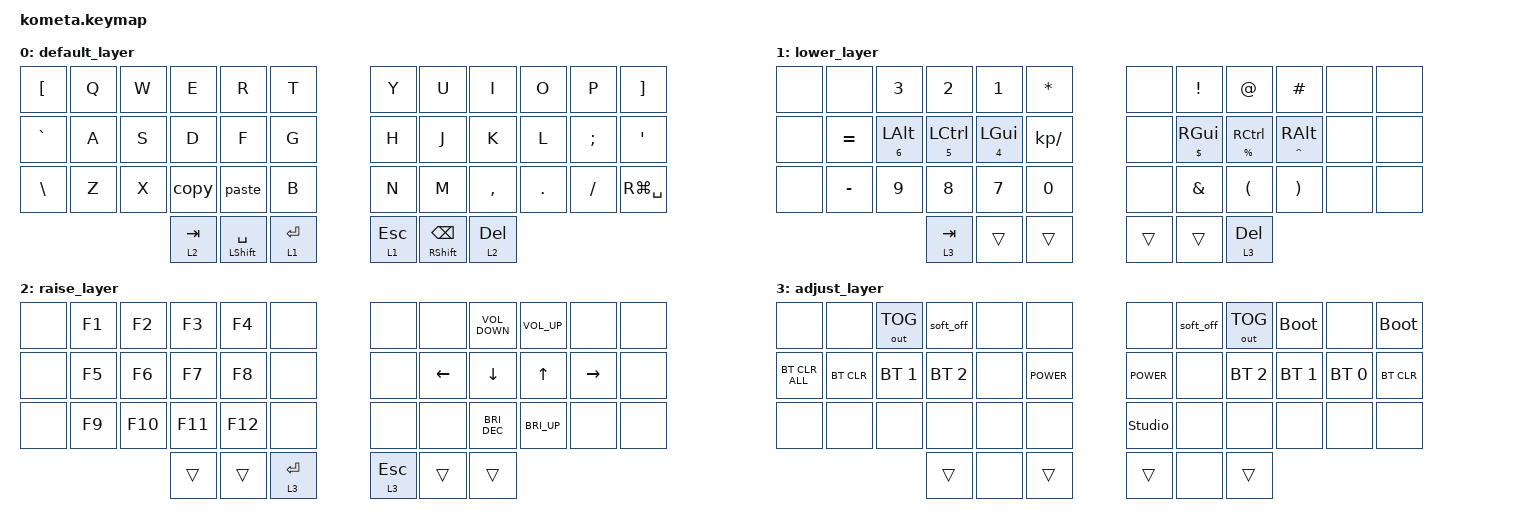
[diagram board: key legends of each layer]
#include <behaviors.dtsi>
#include <dt-bindings/zmk/bt.h>
#include <dt-bindings/zmk/keys.h>
#include <dt-bindings/zmk/outputs.h>

#define DEF 0
#define LWR 1
#define RSE 2
#define ADJ 3

/ {
};

/ {
    behaviors {
        hr: hr {
            compatible = "zmk,behavior-hold-tap";
            label = "home_row";
            bindings = <&kp>, <&kp>;

            #binding-cells = <2>;
            tapping-term-ms = <150>;
            quick-tap-ms = <250>;
            flavor = "tap-preferred";
        };

        copy: copy {
            compatible = "zmk,behavior-tap-dance";
            label = "COPY";
            #binding-cells = <0>;
            bindings = <&kp C>, <&kp K_COPY>;
        };

        paste: paste {
            compatible = "zmk,behavior-tap-dance";
            label = "PASTE";
            #binding-cells = <0>;
            bindings = <&kp V>, <&kp INSERT>;
        };
    };

    keymap {
        compatible = "zmk,keymap";

        default_layer {
            bindings = <
&kp LEFT_BRACKET  &kp Q  &kp W  &kp E      &kp R            &kp T      &kp Y      &kp U           &kp I      &kp O    &kp P     &kp RIGHT_BRACKET
&kp GRAVE         &kp A  &kp S  &kp D      &kp F            &kp G      &kp H      &kp J           &kp K      &kp L    &kp SEMI  &kp SQT
&kp BSLH          &kp Z  &kp X  &copy      &paste           &kp B      &kp N      &kp M           &kp COMMA  &kp DOT  &kp FSLH  &kp RG(SPACE)
                                &lt 2 TAB  &mt LSHFT SPACE  &lt 1 RET  &lt 1 ESC  &mt RSHFT BSPC  &lt 2 DEL
            >;
        };

        lower_layer {
            bindings = <
&none  &none      &kp NUMBER_3           &kp NUMBER_2         &kp N1                 &kp ASTERISK   &none   &kp EXCLAMATION       &kp AT_SIGN           &kp HASH               &none  &none
&none  &kp EQUAL  &hr NUMBER_6 LEFT_ALT  &hr N5 LEFT_CONTROL  &hr NUMBER_4 LEFT_GUI  &kp KP_DIVIDE  &none   &hr DOLLAR RIGHT_GUI  &hr PERCENT RCTRL     &hr CARET RIGHT_ALT    &none  &none
&none  &kp MINUS  &kp N9                 &kp N8               &kp N7                 &kp N0         &none   &kp AMPERSAND         &kp LEFT_PARENTHESIS  &kp RIGHT_PARENTHESIS  &none  &none
                                         &lt 3 TAB            &trans                 &trans         &trans  &trans                &lt 3 DEL
            >;
        };

        raise_layer {
            bindings = <
&none  &kp F1  &kp F2   &kp F3   &kp F4   &none      &none      &none     &kp C_VOLUME_DOWN     &kp C_VOLUME_UP  &none            &none
&none  &kp F5  &kp F6   &kp F7   &kp F8   &none      &none      &kp LEFT  &kp DOWN              &kp UP           &kp RIGHT_ARROW  &none
&none  &kp F9  &kp F10  &kp F11  &kp F12  &none      &none      &none     &kp C_BRIGHTNESS_DEC  &kp C_BRI_UP     &none            &none
                        &trans   &trans   &lt 3 RET  &lt 3 ESC  &trans    &trans
            >;
        };

        adjust_layer {
            bindings = <
&none           &none       &out OUT_TOG  &soft_off     &none  &none        &none           &soft_off  &out OUT_TOG  &bootloader   &none         &bootloader
&bt BT_CLR_ALL  &bt BT_CLR  &bt BT_SEL 1  &bt BT_SEL 2  &none  &kp K_POWER  &kp K_POWER     &none      &bt BT_SEL 2  &bt BT_SEL 1  &bt BT_SEL 0  &bt BT_CLR
&none           &none       &none         &none         &none  &none        &studio_unlock  &none      &none         &none         &none         &none
                                          &trans        &none  &trans       &trans          &none      &trans
            >;
        };
    };
};
